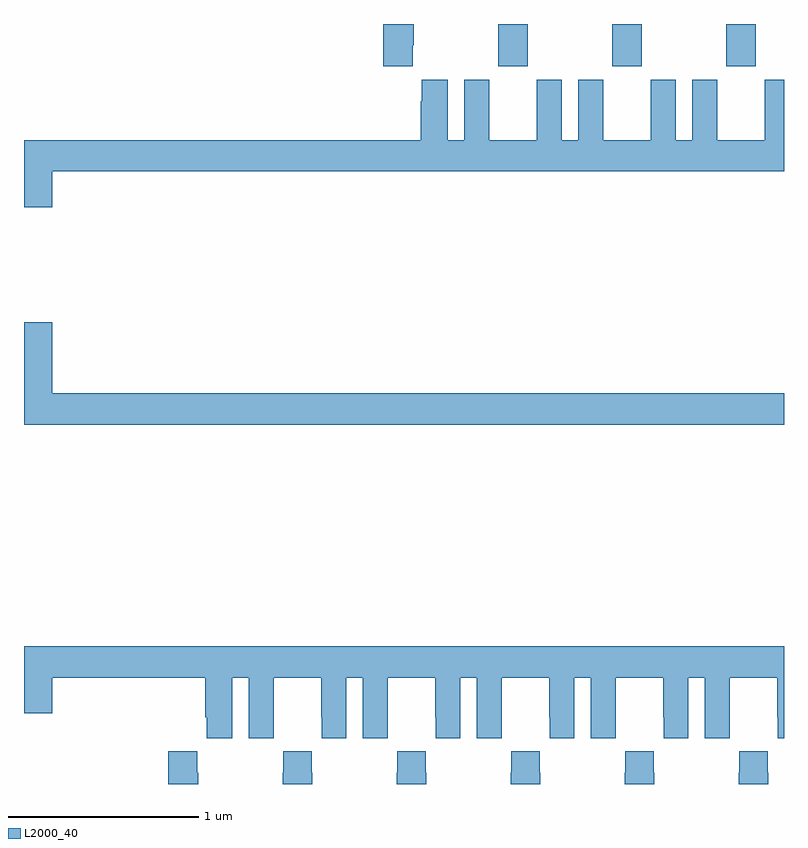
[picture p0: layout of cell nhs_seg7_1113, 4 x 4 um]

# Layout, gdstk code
import gdstk
lib = gdstk.Library(unit=1e-6, precision=1e-09)
def R(c, l, rs):  # rectangles x0, y0, x1, y1
    for r in rs: c.add(gdstk.rectangle(r[:2], r[2:], *l))
def A(c, l, x, y, w, h, nx, ny, dx, dy):  # array of equal rectangles
    R(c, l, [(x+i*dx, y+j*dy, x+i*dx+w, y+j*dy+h) for i in range(nx) for j in range(ny)])
def P(c, l, *ps):  # polygons
    for p in ps: c.add(gdstk.Polygon(p, *l))
L2000_40 = (2000, 40)

nhs_seg7_1113 = lib.new_cell('nhs_seg7_1113')
A(nhs_seg7_1113, L2000_40, 191.497, 1059.777, 0.155, 0.223, 3, 1, 0.6, 0)
P(nhs_seg7_1113, L2000_40, [(191.047,1059.889),(191.052,1059.889),(191.052,1060),(190.892,1060),(190.892,1059.777),(191.047,1059.777)],
  [(189.148,1059.224),(193,1059.224),(193,1059.706),(192.899,1059.706),(192.899,1059.388),(192.649,1059.388),(192.649,1059.706),(192.518,1059.706),(192.518,1059.388),(192.43,1059.388),(192.43,1059.706),(192.299,1059.706),(192.299,1059.388),(192.049,1059.388),(192.049,1059.706),(191.918,1059.706),(191.918,1059.388),(191.83,1059.388),(191.83,1059.706),(191.699,1059.706),(191.699,1059.388),(191.449,1059.388),(191.449,1059.706),(191.318,1059.706),(191.318,1059.388),(191.23,1059.388),(191.23,1059.706),(191.093,1059.706),(191.093,1059.593),(191.087,1059.593),(191.087,1059.388),(189,1059.388),(189,1059.036),(189.148,1059.036)],
  [(193,1058.056),(189.148,1058.056),(189.148,1058.431),(189,1058.431),(189,1057.892),(193,1057.892)],
  [(190.096,1056.56),(190.184,1056.56),(190.184,1056.24),(190.314,1056.24),(190.314,1056.352),(190.315,1056.352),(190.315,1056.56),(190.565,1056.56),(190.565,1056.352),(190.566,1056.352),(190.566,1056.24),(190.696,1056.24),(190.696,1056.56),(190.784,1056.56),(190.784,1056.24),(190.914,1056.24),(190.914,1056.352),(190.915,1056.352),(190.915,1056.56),(191.165,1056.56),(191.165,1056.352),(191.166,1056.352),(191.166,1056.24),(191.296,1056.24),(191.296,1056.56),(191.384,1056.56),(191.384,1056.24),(191.514,1056.24),(191.514,1056.352),(191.515,1056.352),(191.515,1056.56),(191.765,1056.56),(191.765,1056.352),(191.766,1056.352),(191.766,1056.24),(191.896,1056.24),(191.896,1056.56),(191.984,1056.56),(191.984,1056.24),(192.114,1056.24),(192.114,1056.352),(192.115,1056.352),(192.115,1056.56),(192.365,1056.56),(192.365,1056.352),(192.366,1056.352),(192.366,1056.24),(192.496,1056.24),(192.496,1056.56),(192.584,1056.56),(192.584,1056.24),(192.714,1056.24),(192.714,1056.352),(192.715,1056.352),(192.715,1056.56),(192.965,1056.56),(192.965,1056.352),(192.966,1056.352),(192.966,1056.24),(193,1056.24),(193,1056.724),(189,1056.724),(189,1056.372),(189.148,1056.372),(189.148,1056.56),(189.953,1056.56),(189.953,1056.352),(189.962,1056.352),(189.962,1056.24),(190.096,1056.24)],
  [(192.918,1056.059),(192.915,1056.059),(192.915,1056.172),(192.765,1056.172),(192.765,1056.059),(192.763,1056.059),(192.763,1056),(192.918,1056)],
  [(189.918,1056.059),(189.911,1056.059),(189.911,1056.172),(189.758,1056.172),(189.758,1056),(189.918,1056)],
  [(190.518,1056.059),(190.515,1056.059),(190.515,1056.172),(190.365,1056.172),(190.365,1056.059),(190.363,1056.059),(190.363,1056),(190.518,1056)],
  [(191.118,1056.059),(191.115,1056.059),(191.115,1056.172),(190.965,1056.172),(190.965,1056.059),(190.963,1056.059),(190.963,1056),(191.118,1056)],
  [(191.718,1056.059),(191.715,1056.059),(191.715,1056.172),(191.565,1056.172),(191.565,1056.059),(191.563,1056.059),(191.563,1056),(191.718,1056)],
  [(192.318,1056.059),(192.315,1056.059),(192.315,1056.172),(192.165,1056.172),(192.165,1056.059),(192.163,1056.059),(192.163,1056),(192.318,1056)])

lib.write_gds('nhs_seg7_1113.gds')
